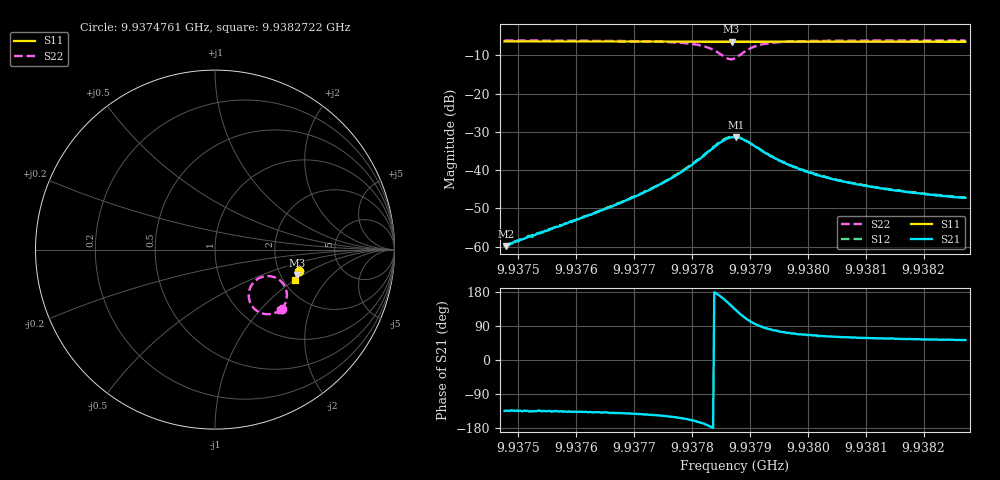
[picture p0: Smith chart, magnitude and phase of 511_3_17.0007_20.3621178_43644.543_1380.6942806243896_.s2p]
#  HZ  S  RI  R  50.00
! Rohde & Schwarz Vector Network Analyzer
! Rohde-Schwarz,ZNB20-2Port,1311601062101988,3.16
! Created: UTC 3/20/2024, 11:15:00 PM
! freq[Hz]  re:S11  im:S11  re:S21  im:S21  re:S12  im:S12  re:S22  im:S22
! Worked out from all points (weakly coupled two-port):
!   401 points, 9.9374761 GHz to 9.9382722 GHz, reference 50 ohm
!   highest |S21| = -31.36 dB at 9.9378761 GHz (marker M1); lowest = -59.8 dB at 9.9374781 GHz (marker M2)
!   lowest |S11| = -6.4 dB at 9.9378682 GHz (marker M3), VSWR 2.83, Z = 122 - j45.5 ohm
!   |S11| at or under -10 dB: nowhere
!   |S22| runs from -11.0 to -6.1 dB; largest |S21 - S12| = 0.0012
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9.93747607e9  0.4678 -0.12  -0.000724 -0.000739  -0.000702 -0.00073  0.3724 -0.3285
9.93747806e9  0.4677 -0.1201  -0.000701 -0.000739  -0.000724 -0.000748  0.3722 -0.3288
9.93760943e9  0.4647 -0.1289  -0.00174 -0.00163  -0.0018 -0.00159  0.3566 -0.3408
9.93768904e9  0.4627 -0.1343  -0.00318 -0.00261  -0.0033 -0.00255  0.3398 -0.3502
9.93774278e9  0.4611 -0.1381  -0.00536 -0.00355  -0.0055 -0.00351  0.319 -0.3572
9.93778458e9  0.4599 -0.1409  -0.00881 -0.00424  -0.00907 -0.00419  0.2882 -0.36
9.9378224e9  0.4581 -0.1434  -0.0158 -0.00293  -0.0162 -0.00249  0.2334 -0.3411
9.93783633e9  0.4571 -0.144  -0.0193 -0.000262  -0.02 0.00027  0.2066 -0.3143
9.93785027e9  0.4563 -0.1443  -0.0227 0.00541  -0.0231 0.00623  0.1883 -0.2643
9.93786022e9  0.4558 -0.1443  -0.0233 0.0114  -0.0233 0.0125  0.1943 -0.2169
9.93786818e9  0.4557 -0.1441  -0.0213 0.0165  -0.0212 0.0174  0.2167 -0.1809
9.93787415e9  0.4559 -0.1442  -0.0187 0.0195  -0.0184 0.0205  0.2425 -0.1608
9.93787614e9  0.456 -0.144  -0.0177 0.0204  -0.0172 0.0212  0.2522 -0.1559
9.93788609e9  0.4563 -0.1443  -0.0119 0.0228  -0.0113 0.0234  0.3007 -0.1476
9.93789803e9  0.4568 -0.1451  -0.00576 0.0223  -0.00511 0.0228  0.3474 -0.1617
9.93791993e9  0.4571 -0.1466  0.00058 0.018  0.00111 0.0182  0.3888 -0.2052
9.93796571e9  0.4564 -0.1504  0.00384 0.0112  0.00395 0.0112  0.4003 -0.2646
9.93800751e9  0.4556 -0.1534  0.00386 0.00834  0.00414 0.00823  0.3947 -0.2903
9.93805528e9  0.4544 -0.1568  0.00354 0.00631  0.00371 0.00635  0.3875 -0.3067
9.93814086e9  0.452 -0.1624  0.00307 0.00464  0.00323 0.00464  0.3769 -0.3233
9.93820854e9  0.4502 -0.1667  0.00283 0.00391  0.00291 0.00389  0.3702 -0.3316
9.93827223e9  0.4483 -0.1708  0.00264 0.00344  0.00273 0.00343  0.3649 -0.3379
